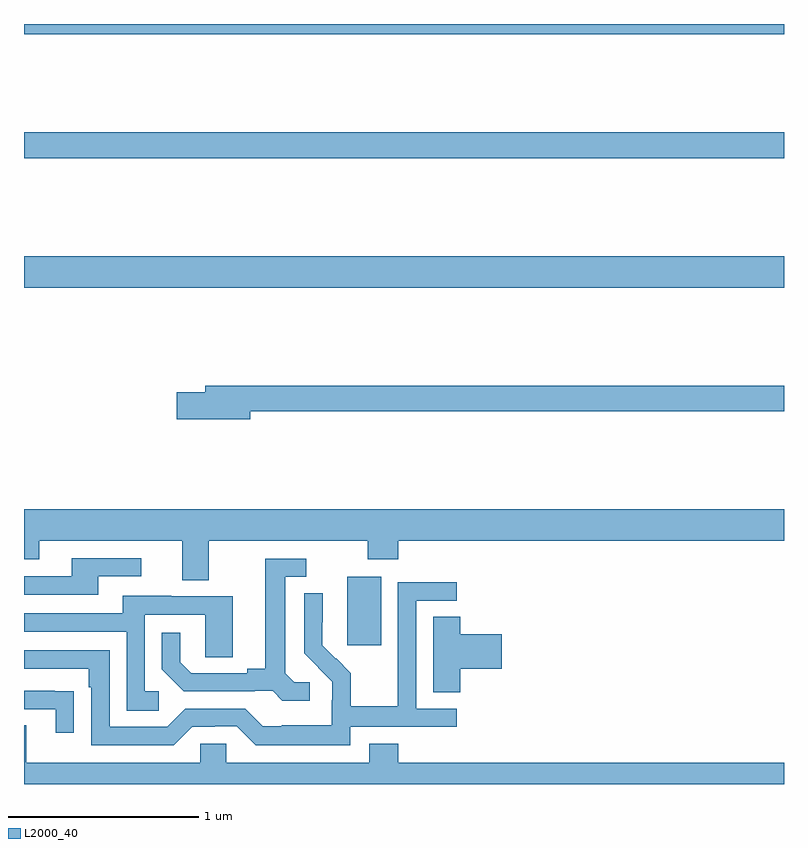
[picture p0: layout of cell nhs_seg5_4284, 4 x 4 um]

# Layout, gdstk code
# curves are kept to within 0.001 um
import gdstk
lib = gdstk.Library(unit=1e-6, precision=1e-09)
def R(c, l, rs):  # rectangles x0, y0, x1, y1
    for r in rs: c.add(gdstk.rectangle(r[:2], r[2:], *l))
def P(c, l, *ps):  # polygons
    for p in ps: c.add(gdstk.Polygon(p, *l))
L2000_40 = (2000, 40)

nhs_seg5_4284 = lib.new_cell('nhs_seg5_4284')
R(nhs_seg5_4284, L2000_40, [(364.7,869.529,364.879,869.89), (363,871.412,367,871.576), (363,872.092,367,872.228), (363,872.744,367,872.799)])
P(nhs_seg5_4284, L2000_40, [(364.192,870.76),(367,870.76),(367,870.896),(363.953,870.896),(363.953,870.86),(363.804,870.86),(363.804,870.718),(364.192,870.718)],
  [(363,869.981),(363.079,869.981),(363.079,870.08),(363.833,870.08),(363.833,869.872),(363.973,869.872),(363.973,870.08),(364.81,870.08),(364.81,869.981),(364.97,869.981),(364.97,870.08),(367,870.08),(367,870.244),(363,870.244)],
  [(363.391,869.892),(363.616,869.892),(363.616,869.988),(363.251,869.988),(363.251,869.892),(363,869.892),(363,869.796),(363.391,869.796)],
  [(364.504,869.334),(364.422,869.334),(364.375,869.381),(364.375,869.889),(364.486,869.889),(364.486,869.985),(364.271,869.985),(364.271,869.405),(364.175,869.405),(364.175,869.382),(363.88,869.382),(363.823,869.439),(363.823,869.596),(363.726,869.596),(363.726,869.402),(363.842,869.286),(364.214,869.286),(364.214,869.289),(364.308,869.289),(364.36,869.237),(364.504,869.237)],
  [(364.716,869.1),(365.278,869.1),(365.278,869.196),(365.064,869.196),(365.064,869.763),(365.278,869.763),(365.278,869.862),(364.968,869.862),(364.968,869.432),(364.966,869.432),(364.966,869.209),(364.721,869.209),(364.721,869.383),(364.644,869.46),(364.641,869.457),(364.571,869.528),(364.572,869.804),(364.476,869.804),(364.476,869.486),(364.622,869.338),(364.622,869.241),(364.62,869.241),(364.62,869.107),(364.357,869.107),(364.357,869.103),(364.257,869.103),(364.164,869.196),(363.849,869.196),(363.753,869.1),(363.45,869.1),(363.45,869.502),(363,869.502),(363,869.406),(363.341,869.406),(363.341,869.309),(363.354,869.309),(363.354,869.004),(363.789,869.004),(363.885,869.1),(364.004,869.1),(364.004,869.103),(364.119,869.103),(364.219,869.003),(364.716,869.003)],
  [(363.709,869.286),(363.636,869.286),(363.636,869.691),(363.954,869.691),(363.954,869.467),(364.099,869.467),(364.099,869.787),(363.775,869.787),(363.775,869.791),(363.521,869.791),(363.521,869.697),(363,869.697),(363,869.601),(363.54,869.601),(363.54,869.185),(363.709,869.185)],
  [(365.297,869.405),(365.515,869.405),(365.515,869.588),(365.297,869.588),(365.297,869.678),(365.153,869.678),(365.153,869.281),(365.297,869.281)],
  [(363.263,869.288),(363.161,869.288),(363.161,869.289),(363,869.289),(363,869.193),(363.167,869.193),(363.167,869.07),(363.263,869.07)],
  [(367,868.912),(364.97,868.912),(364.97,869.011),(364.817,869.011),(364.817,868.912),(364.065,868.912),(364.065,869.01),(363.927,869.01),(363.927,868.912),(363.013,868.912),(363.013,869.107),(363,869.107),(363,868.799),(367,868.799)])

lib.write_gds('nhs_seg5_4284.gds')
